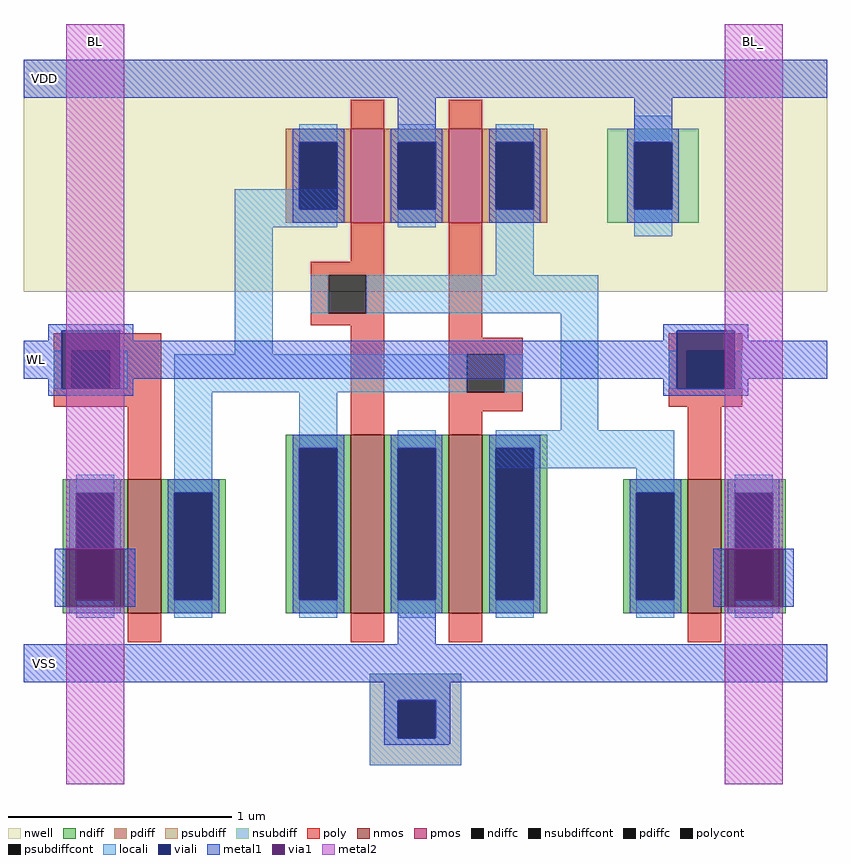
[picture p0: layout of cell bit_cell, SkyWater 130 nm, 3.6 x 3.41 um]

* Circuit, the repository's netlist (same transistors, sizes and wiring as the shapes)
* SPICE3 file created from bit_cell.ext - technology: sky130A

X0 a_182_n47# a_58_30# VDD VDD sky130_fd_pr__pfet_01v8 ad=0.1218 pd=1.42 as=0.1218 ps=1.42 w=0.42 l=0.15
X1 a_58_30# a_182_n47# VDD VDD sky130_fd_pr__pfet_01v8 ad=0.1218 pd=1.42 as=0.121825 ps=1.425 w=0.42 l=0.15
X2 a_182_n47# a_58_30# VSS VSS sky130_fd_pr__nfet_01v8 ad=0.232 pd=2.18 as=0.232 ps=2.18 w=0.8 l=0.15
X3 a_58_30# a_182_n47# VSS VSS sky130_fd_pr__nfet_01v8 ad=0.406 pd=3.96 as=0.232025 ps=2.185 w=0.8 l=0.15
X4 a_182_n47# WL BL VSS sky130_fd_pr__nfet_01v8 ad=0.174 pd=1.78 as=0.174 ps=1.78 w=0.6 l=0.15
X5 BL_ WL a_58_30# VSS sky130_fd_pr__nfet_01v8 ad=0.174 pd=1.78 as=0 ps=0 w=0.6 l=0.15

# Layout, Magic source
magic
tech sky130A
magscale 1 2
<< nwell >>
rect -199 60 0 268
rect 306 60 521 268
<< psubdiff >>
rect 111 -306 193 -282
rect 111 -340 136 -306
rect 170 -340 193 -306
rect 111 -364 193 -340
<< nsubdiff >>
rect 324 194 406 206
rect 324 134 348 194
rect 382 134 406 194
rect 324 122 406 134
<< psubdiffcont >>
rect 136 -340 170 -306
<< nsubdiffcont >>
rect 348 134 382 194
<< poly >>
rect 94 87 124 96
rect 58 75 124 87
rect 58 41 74 75
rect 108 41 124 75
rect 58 30 124 41
rect -172 7 -76 23
rect -172 -27 -156 7
rect -122 -27 -76 7
rect -172 -43 -76 -27
rect 94 -42 124 30
rect 182 19 212 96
rect 182 4 248 19
rect 182 -30 198 4
rect 232 -30 248 4
rect -106 -82 -76 -43
rect 182 -47 248 -30
rect 379 7 445 23
rect 379 -27 395 7
rect 429 -27 445 7
rect 379 -43 445 -27
rect 396 -82 426 -43
<< polycont >>
rect 74 41 108 75
rect -156 -27 -122 7
rect 198 -30 232 4
rect 395 -27 429 7
<< locali >>
rect 348 194 382 218
rect -10 118 82 152
rect -172 -27 -165 7
rect -113 -27 -106 7
rect -10 4 24 118
rect 224 75 258 119
rect 348 110 382 134
rect 58 41 74 75
rect 108 41 316 75
rect -64 -30 198 4
rect 232 -30 248 4
rect -64 -104 -30 -30
rect 48 -64 82 -30
rect 282 -64 316 41
rect 379 -27 386 7
rect 438 -27 445 7
rect 224 -98 384 -64
rect 350 -104 384 -98
rect 111 -306 193 -282
rect 111 -340 136 -306
rect 170 -340 193 -306
rect 111 -364 193 -340
<< viali >>
rect 348 134 382 194
rect -165 7 -113 25
rect -165 -27 -156 7
rect -156 -27 -122 7
rect -122 -27 -113 7
rect 386 7 438 25
rect 386 -27 395 7
rect 395 -27 429 7
rect 429 -27 438 7
rect 136 -340 170 -306
<< metal1 >>
rect -199 234 521 268
rect 136 206 170 234
rect 348 206 382 234
rect 342 194 388 206
rect 342 134 348 194
rect 382 134 388 194
rect 342 122 388 134
rect -177 25 -101 31
rect -177 16 -165 25
rect -199 -18 -165 16
rect -177 -27 -165 -18
rect -113 16 -101 25
rect 374 25 450 31
rect 374 16 386 25
rect -113 -18 386 16
rect -113 -27 -101 -18
rect -177 -33 -101 -27
rect 374 -27 386 -18
rect 438 16 450 25
rect 438 -18 521 16
rect 438 -27 450 -18
rect 374 -33 450 -27
rect -171 -222 -161 -170
rect -109 -222 -99 -170
rect 419 -222 429 -170
rect 481 -222 491 -170
rect 136 -256 170 -228
rect -199 -290 521 -256
rect 124 -306 183 -290
rect 124 -340 136 -306
rect 170 -340 183 -306
rect 124 -345 183 -340
rect 124 -346 182 -345
<< via1 >>
rect -161 -222 -109 -170
rect 429 -222 481 -170
<< metal2 >>
rect -161 -170 -109 300
rect -161 -381 -109 -222
rect 429 -170 481 300
rect 429 -381 481 -222
use sky130_fd_pr__pfet_01v8_4Y88KP  m1
transform -1 0 109 0 1 164
box -109 -104 109 104
use sky130_fd_pr__pfet_01v8_4Y88KP  m2
transform 1 0 197 0 1 164
box -109 -104 109 104
use sky130_fd_pr__nfet_01v8_BBXUYH  m3
transform -1 0 109 0 1 -148
box -73 -106 73 106
use sky130_fd_pr__nfet_01v8_BBXUYH  m4
transform 1 0 197 0 1 -148
box -73 -106 73 106
use sky130_fd_pr__nfet_01v8_FB3UY2  m5
transform 1 0 -91 0 1 -168
box -73 -86 73 86
use sky130_fd_pr__nfet_01v8_FB3UY2  m6
transform 1 0 411 0 1 -168
box -73 -86 73 86
<< labels >>
rlabel metal2 -161 268 -109 300 1 BL
rlabel metal1 -199 234 -161 268 1 VDD
rlabel metal1 -199 -18 -177 16 1 WL
rlabel metal1 -199 -290 -161 -256 1 VSS
rlabel metal2 429 268 481 300 1 BL_
<< end >>

# cell sky130_fd_pr__pfet_01v8_4Y88KP: kit device sky130_fd_pr__pfet_01v8, w 0.42 l 0.15 m 1 nf 1 diffcov 100 polycov 100 guard 0 glc 0 grc 0 gtc 0 gbc 0 tbcov 100 rlcov 100 topc 0 botc 0 poverlap 0 doverlap 0 lmin 0.15 wmin 0.42 compatible {sky130_fd_pr__pfet_01v8 sky130_fd_pr__pfet_01v8_lvt sky130_fd_pr__pfet_01v8_hvt sky130_fd_pr__pfet_g5v0d10v5} full_metal 0 viasrc 100 viadrn 100 viagate 100 viagb 0 viagr 0 viagl 0 viagt 0

# cell sky130_fd_pr__nfet_01v8_BBXUYH: kit device sky130_fd_pr__nfet_01v8, w 0.8 l 0.150 m 1 nf 1 diffcov 100 polycov 100 guard 0 glc 0 grc 0 gtc 0 gbc 0 tbcov 100 rlcov 100 topc 0 botc 0 poverlap 0 doverlap 0 lmin 0.15 wmin 0.42 compatible {sky130_fd_pr__nfet_01v8 sky130_fd_pr__nfet_01v8_lvt sky130_fd_bs_flash__special_sonosfet_star sky130_fd_pr__nfet_g5v0d10v5 sky130_fd_pr__nfet_05v0_nvt sky130_fd_pr__nfet_03v3_nvt} full_metal 0 viasrc 100 viadrn 100 viagate 100 viagb 0 viagr 0 viagl 0 viagt 0

# cell sky130_fd_pr__nfet_01v8_FB3UY2: kit device sky130_fd_pr__nfet_01v8, w 0.6 l 0.150 m 1 nf 1 diffcov 100 polycov 100 guard 0 glc 0 grc 0 gtc 0 gbc 0 tbcov 100 rlcov 100 topc 0 botc 0 poverlap 0 doverlap 0 lmin 0.15 wmin 0.42 compatible {sky130_fd_pr__nfet_01v8 sky130_fd_pr__nfet_01v8_lvt sky130_fd_bs_flash__special_sonosfet_star sky130_fd_pr__nfet_g5v0d10v5 sky130_fd_pr__nfet_05v0_nvt sky130_fd_pr__nfet_03v3_nvt} full_metal 0 viasrc 100 viadrn 100 viagate 100 viagb 0 viagr 0 viagl 0 viagt 0
